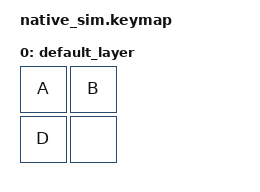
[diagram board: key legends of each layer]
#include <dt-bindings/zmk/keys.h>
#include <behaviors.dtsi>
#include <dt-bindings/zmk/input_matrix_mock.h>

/ {
    combos {
        compatible = "zmk,combos";
        combo_one {
            timeout-ms = <30>;
            key-positions = <0 1>;
            bindings = <&kp C>;
            /* no slow-release! */
        };
    };

    keymap {
        compatible = "zmk,keymap";

        default_layer {
            bindings = <
                &kp A &kp B
                &kp D &none
            >;
        };
    };
};

&matrix {
    events = <
        ZMK_MOCK_PRESS(0,0,10)
        ZMK_MOCK_PRESS(0,1,10)
        ZMK_MOCK_RELEASE(0,0,10) /* this should release the combo */
        ZMK_MOCK_PRESS(1,0,10)
        ZMK_MOCK_RELEASE(0,1,10)
        ZMK_MOCK_RELEASE(1,0,10)
    >;
};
